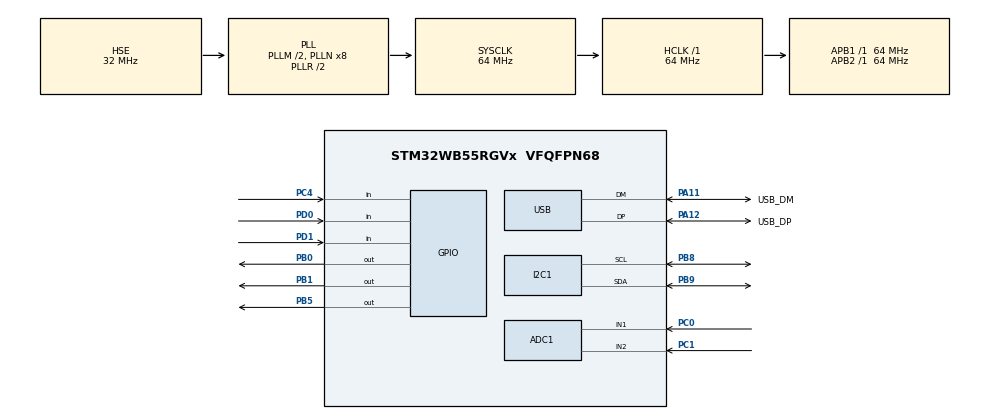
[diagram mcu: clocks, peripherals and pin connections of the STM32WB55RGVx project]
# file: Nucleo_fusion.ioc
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ADC1.Channel-0\#ChannelRegularConversion=ADC_CHANNEL_1
ADC1.Channel-1\#ChannelRegularConversion=ADC_CHANNEL_2
ADC1.ClockPrescaler=ADC_CLOCK_SYNC_PCLK_DIV1
ADC1.ContinuousConvMode=ENABLE
ADC1.DMAContinuousRequests=ENABLE
ADC1.NbrOfConversion=2
ADC1.NbrOfConversionFlag=1
ADC1.OffsetNumber-0\#ChannelRegularConversion=ADC_OFFSET_NONE
ADC1.OffsetNumber-1\#ChannelRegularConversion=ADC_OFFSET_NONE
ADC1.Rank-0\#ChannelRegularConversion=1
ADC1.Rank-1\#ChannelRegularConversion=2
ADC1.SamplingTime-0\#ChannelRegularConversion=ADC_SAMPLETIME_247CYCLES_5
ADC1.SamplingTime-1\#ChannelRegularConversion=ADC_SAMPLETIME_247CYCLES_5
ADC1.master=1
Dma.ADC1.0.Direction=DMA_PERIPH_TO_MEMORY
Dma.ADC1.0.EventEnable=DISABLE
Dma.ADC1.0.Instance=DMA1_Channel1
Dma.ADC1.0.MemDataAlignment=DMA_MDATAALIGN_HALFWORD
Dma.ADC1.0.MemInc=DMA_MINC_ENABLE
Dma.ADC1.0.Mode=DMA_CIRCULAR
Dma.ADC1.0.PeriphDataAlignment=DMA_PDATAALIGN_HALFWORD
Dma.ADC1.0.PeriphInc=DMA_PINC_DISABLE
Dma.ADC1.0.Polarity=HAL_DMAMUX_REQ_GEN_RISING
Dma.ADC1.0.Priority=DMA_PRIORITY_LOW
Dma.ADC1.0.RequestNumber=1
Dma.ADC1.0.SignalID=NONE
Dma.ADC1.0.SyncEnable=DISABLE
Dma.ADC1.0.SyncPolarity=HAL_DMAMUX_SYNC_NO_EVENT
Dma.ADC1.0.SyncRequestNumber=1
Dma.ADC1.0.SyncSignalID=NONE
Dma.Request0=ADC1
I2C1.Timing=0x10B17DB5
Mcu.Family=STM32WB
Mcu.Name=STM32WB55RGVx
Mcu.Package=VFQFPN68
NUCLEO-WB55RG.BUTTON=1
NUCLEO-WB55RG.BUTTON2=1
NUCLEO-WB55RG.BUTTON3=1
NUCLEO-WB55RG.LD1=true
NUCLEO-WB55RG.LD2=true
NUCLEO-WB55RG.LD3=true
NUCLEO-WB55RG.VCP=true
NVIC.ADC1_IRQn=true\:2\:0\:true\:false\:true\:true\:true\:true
NVIC.DMA1_Channel1_IRQn=true\:0\:0\:false\:false\:true\:false\:true\:true
NVIC.EXTI0_IRQn=true\:3\:0\:true\:false\:true\:false\:true\:true
NVIC.EXTI1_IRQn=true\:3\:0\:true\:false\:true\:false\:true\:true
NVIC.EXTI4_IRQn=true\:3\:0\:true\:false\:true\:false\:true\:true
NVIC.I2C1_ER_IRQn=true\:0\:0\:false\:false\:true\:true\:true\:true
NVIC.I2C1_EV_IRQn=true\:0\:0\:false\:false\:true\:true\:true\:true
NVIC.PriorityGroup=NVIC_PRIORITYGROUP_4
NVIC.TIM2_IRQn=true\:0\:0\:false\:false\:true\:true\:true\:true
NVIC.USB_HP_IRQn=true\:0\:0\:false\:false\:true\:true\:true\:true
NVIC.USB_LP_IRQn=true\:0\:0\:false\:false\:true\:true\:true\:true
OSC_IN.GPIO_Label=RCC_OSC_IN
OSC_IN.Mode=HSE-External-Oscillator
OSC_IN.Signal=RCC_OSC_IN
OSC_OUT.GPIO_Label=RCC_OSC_OUT
OSC_OUT.Mode=HSE-External-Oscillator
OSC_OUT.Signal=RCC_OSC_OUT
PA11.GPIO_Label=USB_DM
PA11.Mode=Device
PA11.Signal=USB_DM
PA12.GPIO_Label=USB_DP
PA12.Mode=Device
PA12.Signal=USB_DP
PA13.GPIO_Label=JTMS
PA13.Signal=SYS_JTMS-SWDIO
PA14.GPIO_Label=JTCK
PA14.Signal=SYS_JTCK-SWCLK
PB0.Signal=GPIO_Output
PB1.Signal=GPIO_Output
PB3.GPIO_Label=JTDO
PB3.Signal=SYS_JTDO-SWO
PB5.Signal=GPIO_Output
PB6.Signal=USART1_TX
PB7.Signal=USART1_RX
PB8.Mode=I2C
PB8.Signal=I2C1_SCL
PB9.Mode=I2C
PB9.Signal=I2C1_SDA
PC0.Signal=ADCx_IN1
PC1.Signal=ADCx_IN2
PC13.GPIO_Label=SYS_WKUP2
PC13.Signal=SYS_WKUP2
PC14-OSC32_IN.GPIO_Label=RCC_OSC32_IN
PC14-OSC32_IN.Mode=LSE-External-Oscillator
PC14-OSC32_IN.Signal=RCC_OSC32_IN
PC15-OSC32_OUT.GPIO_Label=RCC_OSC32_OUT
PC15-OSC32_OUT.Mode=LSE-External-Oscillator
PC15-OSC32_OUT.Signal=RCC_OSC32_OUT
PC4.Signal=GPIO_Input
PD0.Signal=GPIO_Input
PD1.Signal=GPIO_Input
ProjectManager.HeapSize=0x200
ProjectManager.StackSize=0x400
ProjectManager.TargetToolchain=STM32CubeIDE
RCC.ADCFreq_Value=48000000
RCC.AHB2CLKDivider=RCC_SYSCLK_DIV2
RCC.AHBFreq_Value=64000000
RCC.APB1Freq_Value=64000000
RCC.APB1TimFreq_Value=64000000
RCC.APB2Freq_Value=64000000
RCC.APB2TimFreq_Value=64000000
RCC.APB3Freq_Value=16000000
RCC.Cortex2_Div=SYSTICK_CLKSOURCE_HCLK_DIV8
RCC.CortexFreq_Value=64000000
RCC.HCLKFreq_Value=64000000
RCC.HSE_VALUE=32000000
RCC.HSI48_VALUE=48000000
RCC.HSI_VALUE=16000000
RCC.PLLM=RCC_PLLM_DIV2
RCC.PLLSAI1N=6
RCC.PLLSourceVirtual=RCC_PLLSOURCE_HSE
RCC.SMPSCLockSelection=RCC_SMPSCLKSOURCE_HSI
RCC.SMPSCLockSelectionVirtual=RCC_SMPSCLKSOURCE_HSI
RCC.SMPSCLockSelectionVirtualVirtual=RCC_SMPSCLKSOURCE_HSI
RCC.SMPSDivider=1
RCC.SYSCLKFreq_VALUE=64000000
RCC.SYSCLKSource=RCC_SYSCLKSOURCE_PLLCLK
RCC.USBFreq_Value=48000000
RCC.VCOOutputFreq_Value=128000000
SH.ADCx_IN1.0=ADC1_IN1,IN1-Single-Ended
SH.ADCx_IN2.0=ADC1_IN2,IN2-Single-Ended
TIM2.AutoReloadPreload=TIM_AUTORELOAD_PRELOAD_ENABLE
TIM2.CounterMode=TIM_COUNTERMODE_UP
TIM2.Period=3200-1
TIM2.Prescaler=0
TIM2.TIM_MasterOutputTrigger=TIM_TRGO_UPDATE
USB_DEVICE.CLASS_NAME_FS=CDC
USB_DEVICE.USBD_DEBUG_LEVEL=2
USB_DEVICE.VirtualMode=Cdc
USB_DEVICE.VirtualModeFS=Cdc_FS
VP_MEMORYMAP_VS_MEMORYMAP.Mode=CurAppReg
VP_NUCLEO-WB55RG_VS_BSP_COMMON.Mode=COMMON
VP_TIM2_VS_ClockSourceINT.Mode=Internal
VP_USB_DEVICE_VS_USB_DEVICE_CDC_FS.Mode=CDC_FS
board=NUCLEO-WB55RG

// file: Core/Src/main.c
/* USER CODE BEGIN Header */
/**
  ******************************************************************************
  * @file           : main.c
  * @brief          : Main program body
  ******************************************************************************
  * @attention
  *
  * Copyright (c) 2024 STMicroelectronics.
  * All rights reserved.
  *
  * This software is licensed under terms that can be found in the LICENSE file
  * in the root directory of this software component.
  * If no LICENSE file comes with this software, it is provided AS-IS.
  *
  ******************************************************************************
  */
/* USER CODE END Header */
#include "main.h"
#include "usb_device.h"

/* USER CODE BEGIN Includes */
#include <stdio.h>
#include <stdint.h>
#include <string.h>
#include "usbd_cdc_if.h"
#include "bmi160_wrapper.h"

#include "BMI270_SensorAPI-master/bmi270.h"
#include "BMI270_SensorAPI-master/common.h"
/* USER CODE END Includes */

/* USER CODE BEGIN PM */
#define AUDIO_BUFFER_SIZE 100
#define BUFFER_SIZE (1 + AUDIO_BUFFER_SIZE*sizeof(uint16_t))

/* USER CODE END PM */

COM_InitTypeDef BspCOMInit;
ADC_HandleTypeDef hadc1;
DMA_HandleTypeDef hdma_adc1;

I2C_HandleTypeDef hi2c1;

TIM_HandleTypeDef htim2;

/* USER CODE BEGIN PV */

/* Analog */
uint16_t ADC_reading;
/* Analog END */

/* USB */
uint8_t flag = 0;
char msg[100];
static uint8_t buffer1[BUFFER_SIZE];
static uint8_t buffer2[BUFFER_SIZE];
static uint8_t *workspace_buffer = buffer1;
static uint8_t *ready_buffer = buffer2;
/* USB END */

/* USER CODE END PV */

void SystemClock_Config(void);
void PeriphCommonClock_Config(void);
static void MX_GPIO_Init(void);
static void MX_DMA_Init(void);
static void MX_ADC1_Init(void);
static void MX_TIM2_Init(void);
static void MX_I2C1_Init(void);

/* USER CODE BEGIN 0 */
void HAL_TIM_PeriodElapsedCallback(TIM_HandleTypeDef *htim2)
  {
	static uint16_t sample_count = 0;
	static uint16_t counter = 0;

	buffer1[0] = (uint8_t)-128;
	buffer2[0] = (uint8_t)-128;

	//update buffer
	memcpy(&workspace_buffer[2*sample_count+1], &counter, sizeof(uint16_t));

	counter++;
	sample_count++;

	if (counter == 32000){
		counter = 0;
	}

	// Use the local counter to determine when to signal
	if(sample_count == AUDIO_BUFFER_SIZE)
	{
		//swap buffers so buffer points to the other buffer
		uint8_t *temp = workspace_buffer;
		workspace_buffer = ready_buffer;
		ready_buffer = temp;
		sample_count = 0;
		flag = 1;
	}
  }
/* USER CODE END 0 */

int main(void)
{

  /* MCU Configuration--------------------------------------------------------*/

  /* Reset of all peripherals, Initializes the Flash interface and the Systick. */
  HAL_Init();

  /* Configure the system clock */
  SystemClock_Config();

  /* Configure the peripherals common clocks */
  PeriphCommonClock_Config();

  /* Initialize all configured peripherals */
  MX_GPIO_Init();
  MX_DMA_Init();
  MX_ADC1_Init();
  MX_TIM2_Init();
  MX_USB_Device_Init();
  MX_I2C1_Init();
  /* USER CODE BEGIN 2 */
  //start ADC reading
  HAL_ADC_Start_DMA(&hadc1, (uint32_t *) ADC_reading, 2);

//  if (imu_t.INIT_OK_i8 != TRUE){
//	  //HAL_GPIO_WritePin(LD3_GPIO_Port, LD3_Pin, SET);
//  }

  /* USER CODE END 2 */

  /* Initialize leds */
  BSP_LED_Init(LED_BLUE);
  BSP_LED_Init(LED_GREEN);
  BSP_LED_Init(LED_RED);

  /* Initialize USER push-button, will be used to trigger an interrupt each time it's pressed.*/
  BSP_PB_Init(BUTTON_SW1, BUTTON_MODE_EXTI);
  BSP_PB_Init(BUTTON_SW2, BUTTON_MODE_EXTI);
  BSP_PB_Init(BUTTON_SW3, BUTTON_MODE_EXTI);

  /* Initialize COM1 port (115200, 8 bits (7-bit data + 1 stop bit), no parity */
  BspCOMInit.BaudRate   = 115200;
  BspCOMInit.WordLength = COM_WORDLENGTH_8B;
  BspCOMInit.StopBits   = COM_STOPBITS_1;
  BspCOMInit.Parity     = COM_PARITY_NONE;
  BspCOMInit.HwFlowCtl  = COM_HWCONTROL_NONE;
  if (BSP_COM_Init(COM1, &BspCOMInit) != BSP_ERROR_NONE)
  {
    Error_Handler();
  }

  /* Infinite loop */
  /* USER CODE BEGIN WHILE */
  /*                                                                          ********************************************************************* */

  //start ADC sampler timer
  HAL_TIM_Base_Start_IT(&htim2);
  uint8_t status;

  while (1)
  {
	  if (flag==1){
  		  status = CDC_Transmit_FS(ready_buffer, BUFFER_SIZE);
//		  sprintf(msg, " mic: %d, ac: %f %f %f, gy: %f %f %f \r\n", ADC_reading, a_f32[0],a_f32[1],a_f32[2],g_f32[0],g_f32[1],g_f32[2]);
//		  CDC_Transmit_FS((uint8_t*)msg, sizeof(msg));

		  flag = 0;
	  }

  /*                                                                          ********************************************************************* */
    /* USER CODE END WHILE */

  }
}

void SystemClock_Config(void)
{
  RCC_OscInitTypeDef RCC_OscInitStruct = {0};
  RCC_ClkInitTypeDef RCC_ClkInitStruct = {0};

  /** Configure the main internal regulator output voltage
  */
  __HAL_PWR_VOLTAGESCALING_CONFIG(PWR_REGULATOR_VOLTAGE_SCALE1);

  /** Initializes the RCC Oscillators according to the specified parameters
  * in the RCC_OscInitTypeDef structure.
  */
  RCC_OscInitStruct.OscillatorType = RCC_OSCILLATORTYPE_HSI|RCC_OSCILLATORTYPE_HSE;
  RCC_OscInitStruct.HSEState = RCC_HSE_ON;
  RCC_OscInitStruct.HSIState = RCC_HSI_ON;
  RCC_OscInitStruct.HSICalibrationValue = RCC_HSICALIBRATION_DEFAULT;
  RCC_OscInitStruct.PLL.PLLState = RCC_PLL_ON;
  RCC_OscInitStruct.PLL.PLLSource = RCC_PLLSOURCE_HSE;
  RCC_OscInitStruct.PLL.PLLM = RCC_PLLM_DIV2;
  RCC_OscInitStruct.PLL.PLLN = 8;
  RCC_OscInitStruct.PLL.PLLP = RCC_PLLP_DIV2;
  RCC_OscInitStruct.PLL.PLLR = RCC_PLLR_DIV2;
  RCC_OscInitStruct.PLL.PLLQ = RCC_PLLQ_DIV2;
  if (HAL_RCC_OscConfig(&RCC_OscInitStruct) != HAL_OK)
  {
    Error_Handler();
  }

  /** Configure the SYSCLKSource, HCLK, PCLK1 and PCLK2 clocks dividers
  */
  RCC_ClkInitStruct.ClockType = RCC_CLOCKTYPE_HCLK4|RCC_CLOCKTYPE_HCLK2
                              |RCC_CLOCKTYPE_HCLK|RCC_CLOCKTYPE_SYSCLK
                              |RCC_CLOCKTYPE_PCLK1|RCC_CLOCKTYPE_PCLK2;
  RCC_ClkInitStruct.SYSCLKSource = RCC_SYSCLKSOURCE_PLLCLK;
  RCC_ClkInitStruct.AHBCLKDivider = RCC_SYSCLK_DIV1;
  RCC_ClkInitStruct.APB1CLKDivider = RCC_HCLK_DIV1;
  RCC_ClkInitStruct.APB2CLKDivider = RCC_HCLK_DIV1;
  RCC_ClkInitStruct.AHBCLK2Divider = RCC_SYSCLK_DIV2;
  RCC_ClkInitStruct.AHBCLK4Divider = RCC_SYSCLK_DIV1;

  if (HAL_RCC_ClockConfig(&RCC_ClkInitStruct, FLASH_LATENCY_3) != HAL_OK)
  {
    Error_Handler();
  }
}

void PeriphCommonClock_Config(void)
{
  RCC_PeriphCLKInitTypeDef PeriphClkInitStruct = {0};

  /** Initializes the peripherals clock
  */
  PeriphClkInitStruct.PeriphClockSelection = RCC_PERIPHCLK_SMPS|RCC_PERIPHCLK_USB
                              |RCC_PERIPHCLK_ADC;
  PeriphClkInitStruct.PLLSAI1.PLLN = 6;
  PeriphClkInitStruct.PLLSAI1.PLLP = RCC_PLLP_DIV2;
  PeriphClkInitStruct.PLLSAI1.PLLQ = RCC_PLLQ_DIV2;
  PeriphClkInitStruct.PLLSAI1.PLLR = RCC_PLLR_DIV2;
  PeriphClkInitStruct.PLLSAI1.PLLSAI1ClockOut = RCC_PLLSAI1_USBCLK|RCC_PLLSAI1_ADCCLK;
  PeriphClkInitStruct.UsbClockSelection = RCC_USBCLKSOURCE_PLLSAI1;
  PeriphClkInitStruct.AdcClockSelection = RCC_ADCCLKSOURCE_PLLSAI1;
  PeriphClkInitStruct.SmpsClockSelection = RCC_SMPSCLKSOURCE_HSI;
  PeriphClkInitStruct.SmpsDivSelection = RCC_SMPSCLKDIV_RANGE0;

  if (HAL_RCCEx_PeriphCLKConfig(&PeriphClkInitStruct) != HAL_OK)
  {
    Error_Handler();
  }
}

static void MX_ADC1_Init(void)
{

  ADC_ChannelConfTypeDef sConfig = {0};

  /** Common config
  */
  hadc1.Instance = ADC1;
  hadc1.Init.ClockPrescaler = ADC_CLOCK_SYNC_PCLK_DIV1;
  hadc1.Init.Resolution = ADC_RESOLUTION_12B;
  hadc1.Init.DataAlign = ADC_DATAALIGN_RIGHT;
  hadc1.Init.ScanConvMode = ADC_SCAN_ENABLE;
  hadc1.Init.EOCSelection = ADC_EOC_SINGLE_CONV;
  hadc1.Init.LowPowerAutoWait = DISABLE;
  hadc1.Init.ContinuousConvMode = ENABLE;
  hadc1.Init.NbrOfConversion = 2;
  hadc1.Init.DiscontinuousConvMode = DISABLE;
  hadc1.Init.ExternalTrigConv = ADC_SOFTWARE_START;
  hadc1.Init.ExternalTrigConvEdge = ADC_EXTERNALTRIGCONVEDGE_NONE;
  hadc1.Init.DMAContinuousRequests = ENABLE;
  hadc1.Init.Overrun = ADC_OVR_DATA_PRESERVED;
  hadc1.Init.OversamplingMode = DISABLE;
  if (HAL_ADC_Init(&hadc1) != HAL_OK)
  {
    Error_Handler();
  }

  /** Configure Regular Channel
  */
  sConfig.Channel = ADC_CHANNEL_1;
  sConfig.Rank = ADC_REGULAR_RANK_1;
  sConfig.SamplingTime = ADC_SAMPLETIME_247CYCLES_5;
  sConfig.SingleDiff = ADC_SINGLE_ENDED;
  sConfig.OffsetNumber = ADC_OFFSET_NONE;
  sConfig.Offset = 0;
  if (HAL_ADC_ConfigChannel(&hadc1, &sConfig) != HAL_OK)
  {
    Error_Handler();
  }

  /** Configure Regular Channel
  */
  sConfig.Channel = ADC_CHANNEL_2;
  sConfig.Rank = ADC_REGULAR_RANK_2;
  if (HAL_ADC_ConfigChannel(&hadc1, &sConfig) != HAL_OK)
  {
    Error_Handler();
  }

}

static void MX_I2C1_Init(void)
{

  hi2c1.Instance = I2C1;
  hi2c1.Init.Timing = 0x10B17DB5;
  hi2c1.Init.OwnAddress1 = 0;
  hi2c1.Init.AddressingMode = I2C_ADDRESSINGMODE_7BIT;
  hi2c1.Init.DualAddressMode = I2C_DUALADDRESS_DISABLE;
  hi2c1.Init.OwnAddress2 = 0;
  hi2c1.Init.OwnAddress2Masks = I2C_OA2_NOMASK;
  hi2c1.Init.GeneralCallMode = I2C_GENERALCALL_DISABLE;
  hi2c1.Init.NoStretchMode = I2C_NOSTRETCH_DISABLE;
  if (HAL_I2C_Init(&hi2c1) != HAL_OK)
  {
    Error_Handler();
  }

  /** Configure Analogue filter
  */
  if (HAL_I2CEx_ConfigAnalogFilter(&hi2c1, I2C_ANALOGFILTER_ENABLE) != HAL_OK)
  {
    Error_Handler();
  }

  /** Configure Digital filter
  */
  if (HAL_I2CEx_ConfigDigitalFilter(&hi2c1, 0) != HAL_OK)
  {
    Error_Handler();
  }

}

static void MX_TIM2_Init(void)
{

  TIM_ClockConfigTypeDef sClockSourceConfig = {0};
  TIM_MasterConfigTypeDef sMasterConfig = {0};

  htim2.Instance = TIM2;
  htim2.Init.Prescaler = 0;
  htim2.Init.CounterMode = TIM_COUNTERMODE_UP;
  htim2.Init.Period = 3200-1;
  htim2.Init.ClockDivision = TIM_CLOCKDIVISION_DIV1;
  htim2.Init.AutoReloadPreload = TIM_AUTORELOAD_PRELOAD_ENABLE;
  if (HAL_TIM_Base_Init(&htim2) != HAL_OK)
  {
    Error_Handler();
  }
  sClockSourceConfig.ClockSource = TIM_CLOCKSOURCE_INTERNAL;
  if (HAL_TIM_ConfigClockSource(&htim2, &sClockSourceConfig) != HAL_OK)
  {
    Error_Handler();
  }
  sMasterConfig.MasterOutputTrigger = TIM_TRGO_UPDATE;
  sMasterConfig.MasterSlaveMode = TIM_MASTERSLAVEMODE_DISABLE;
  if (HAL_TIMEx_MasterConfigSynchronization(&htim2, &sMasterConfig) != HAL_OK)
  {
    Error_Handler();
  }

}

static void MX_DMA_Init(void)
{

  /* DMA controller clock enable */
  __HAL_RCC_DMAMUX1_CLK_ENABLE();
  __HAL_RCC_DMA1_CLK_ENABLE();

  /* DMA interrupt init */
  /* DMA1_Channel1_IRQn interrupt configuration */
  HAL_NVIC_SetPriority(DMA1_Channel1_IRQn, 0, 0);
  HAL_NVIC_EnableIRQ(DMA1_Channel1_IRQn);

}

static void MX_GPIO_Init(void)
{

  /* GPIO Ports Clock Enable */
  __HAL_RCC_GPIOC_CLK_ENABLE();
  __HAL_RCC_GPIOB_CLK_ENABLE();
  __HAL_RCC_GPIOA_CLK_ENABLE();

}

void Error_Handler(void)
{
  __disable_irq();
  while (1)
  {
  }
}
